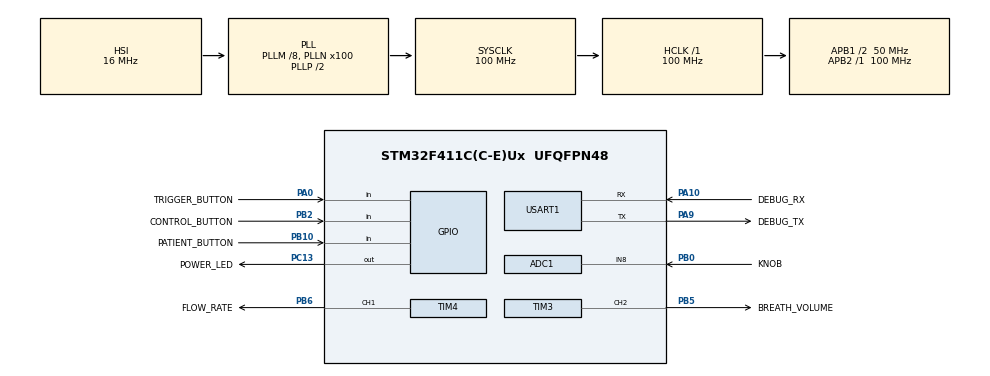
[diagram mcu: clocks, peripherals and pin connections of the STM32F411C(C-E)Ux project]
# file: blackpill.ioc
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ADC1.Channel-0\#ChannelRegularConversion=ADC_CHANNEL_8
ADC1.NbrOfConversionFlag=1
ADC1.Rank-0\#ChannelRegularConversion=1
ADC1.SamplingTime-0\#ChannelRegularConversion=ADC_SAMPLETIME_3CYCLES
ADC1.master=1
Dma.ADC1.0.Direction=DMA_PERIPH_TO_MEMORY
Dma.ADC1.0.FIFOMode=DMA_FIFOMODE_DISABLE
Dma.ADC1.0.Instance=DMA2_Stream0
Dma.ADC1.0.MemDataAlignment=DMA_MDATAALIGN_HALFWORD
Dma.ADC1.0.MemInc=DMA_MINC_ENABLE
Dma.ADC1.0.Mode=DMA_NORMAL
Dma.ADC1.0.PeriphDataAlignment=DMA_PDATAALIGN_HALFWORD
Dma.ADC1.0.PeriphInc=DMA_PINC_DISABLE
Dma.ADC1.0.Priority=DMA_PRIORITY_LOW
Dma.Request0=ADC1
FREERTOS.Tasks01=defaultTask,29,128,StartDefaultTask,Default,NULL,Dynamic,NULL,NULL;buttonTask,29,150,StartButtonTask,Default,NULL,Dynamic,NULL,NULL;patientTask,29,170,startPatientTask,Default,NULL,Dynamic,NULL,NULL
Mcu.Family=STM32F4
Mcu.Name=STM32F411C(C-E)Ux
Mcu.Package=UFQFPN48
NVIC.ADC_IRQn=true\:5\:0\:false\:false\:true\:true\:true\:true\:true
NVIC.DMA2_Stream0_IRQn=true\:5\:0\:false\:false\:true\:true\:false\:true\:true
NVIC.PriorityGroup=NVIC_PRIORITYGROUP_4
NVIC.TIM1_BRK_TIM9_IRQn=true\:15\:0\:false\:false\:true\:false\:false\:true\:true
NVIC.TIM3_IRQn=true\:5\:0\:false\:false\:true\:true\:true\:true\:true
NVIC.TIM4_IRQn=true\:5\:0\:false\:false\:true\:true\:true\:true\:true
NVIC.TimeBase=TIM1_BRK_TIM9_IRQn
NVIC.TimeBaseIP=TIM9
NVIC.USART1_IRQn=true\:5\:0\:false\:false\:true\:true\:true\:true\:true
PA0-WKUP.GPIO_Label=TRIGGER_BUTTON
PA0-WKUP.GPIO_PuPd=GPIO_PULLUP
PA0-WKUP.Signal=GPIO_Input
PA10.GPIO_Label=DEBUG_RX
PA10.Mode=Asynchronous
PA10.Signal=USART1_RX
PA11.Signal=USB_OTG_FS_DM
PA12.Signal=USB_OTG_FS_DP
PA13.Mode=Serial_Wire
PA13.Signal=SYS_JTMS-SWDIO
PA14.Mode=Serial_Wire
PA14.Signal=SYS_JTCK-SWCLK
PA4.Signal=SPI1_NSS
PA5.Signal=SPI1_SCK
PA7.Signal=SPI1_MOSI
PA9.GPIO_Label=DEBUG_TX
PA9.Mode=Asynchronous
PA9.Signal=USART1_TX
PB0.GPIO_Label=KNOB
PB0.Signal=ADCx_IN8
PB10.GPIO_Label=PATIENT_BUTTON
PB10.GPIO_PuPd=GPIO_PULLUP
PB10.Signal=GPIO_Input
PB2.GPIO_Label=CONTROL_BUTTON
PB2.GPIO_PuPd=GPIO_PULLUP
PB2.Signal=GPIO_Input
PB4.Signal=SPI1_MISO
PB5.GPIO_Label=BREATH_VOLUME
PB5.Signal=S_TIM3_CH2
PB6.GPIO_Label=FLOW_RATE
PB6.Signal=S_TIM4_CH1
PC13-ANTI_TAMP.GPIO_Label=POWER_LED
PC13-ANTI_TAMP.GPIO_ModeDefaultOutputPP=GPIO_MODE_OUTPUT_OD
PC13-ANTI_TAMP.GPIO_PuPd=GPIO_NOPULL
PC13-ANTI_TAMP.PinState=GPIO_PIN_SET
PC13-ANTI_TAMP.Signal=GPIO_Output
PC14-OSC32_IN.Mode=LSE-External-Oscillator
PC14-OSC32_IN.Signal=RCC_OSC32_IN
PC15-OSC32_OUT.Mode=LSE-External-Oscillator
PC15-OSC32_OUT.Signal=RCC_OSC32_OUT
PH0\ -\ OSC_IN.Mode=HSE-External-Oscillator
PH0\ -\ OSC_IN.Signal=RCC_OSC_IN
PH1\ -\ OSC_OUT.Mode=HSE-External-Oscillator
PH1\ -\ OSC_OUT.Signal=RCC_OSC_OUT
ProjectManager.HeapSize=0x200
ProjectManager.StackSize=0x400
ProjectManager.TargetToolchain=STM32CubeIDE
RCC.48MHZClocksFreq_Value=50000000
RCC.AHBFreq_Value=100000000
RCC.APB1CLKDivider=RCC_HCLK_DIV2
RCC.APB1Freq_Value=50000000
RCC.APB1TimFreq_Value=100000000
RCC.APB2Freq_Value=100000000
RCC.APB2TimFreq_Value=100000000
RCC.CortexFreq_Value=100000000
RCC.HCLKFreq_Value=100000000
RCC.HSE_VALUE=25000000
RCC.HSI_VALUE=16000000
RCC.PLLM=8
RCC.PLLN=100
RCC.SYSCLKFreq_VALUE=100000000
RCC.SYSCLKSource=RCC_SYSCLKSOURCE_PLLCLK
RCC.VCOOutputFreq_Value=200000000
SH.ADCx_IN8.0=ADC1_IN8,IN8
SH.S_TIM3_CH2.0=TIM3_CH2,PWM Generation2 CH2
SH.S_TIM4_CH1.0=TIM4_CH1,PWM Generation1 CH1
TIM1.AutoReloadPreload=TIM_AUTORELOAD_PRELOAD_ENABLE
TIM1.Prescaler=9999
TIM1.TIM_MasterOutputTrigger=TIM_TRGO_RESET
TIM3.Channel-PWM\ Generation2\ CH2=TIM_CHANNEL_2
TIM3.Period=999
TIM3.Prescaler=99
TIM3.Pulse-PWM\ Generation2\ CH2=0
TIM4.Channel-PWM\ Generation1\ CH1=TIM_CHANNEL_1
TIM4.Period=9999
TIM4.Prescaler=9999
USART1.VirtualMode=VM_ASYNC
VP_FREERTOS_VS_CMSIS_V2.Mode=CMSIS_V2
VP_SYS_VS_tim9.Mode=TIM9
VP_TIM1_VS_ClockSourceINT.Mode=Internal
VP_TIM3_VS_ClockSourceINT.Mode=Internal
VP_TIM4_VS_ClockSourceINT.Mode=Internal
board=custom

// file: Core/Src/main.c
/* USER CODE BEGIN Header */
/**
  ******************************************************************************
  * @file           : main.c
  * @brief          : Main program body
  ******************************************************************************
  * @attention
  *
  * Copyright (c) 2022 STMicroelectronics.
  * All rights reserved.
  *
  * This software is licensed under terms that can be found in the LICENSE file
  * in the root directory of this software component.
  * If no LICENSE file comes with this software, it is provided AS-IS.
  *
  ******************************************************************************
  */
/* USER CODE END Header */
#include "main.h"
#include "cmsis_os.h"

/* USER CODE BEGIN Includes */
#include "app.h"
#include "led.h"
#include "debug.h"
/* USER CODE END Includes */

ADC_HandleTypeDef hadc1;
DMA_HandleTypeDef hdma_adc1;

TIM_HandleTypeDef htim1;
TIM_HandleTypeDef htim3;
TIM_HandleTypeDef htim4;

UART_HandleTypeDef huart1;

/* Definitions for defaultTask */
osThreadId_t defaultTaskHandle;
const osThreadAttr_t defaultTask_attributes = {
  .name = "defaultTask",
  .stack_size = 128 * 4,
  .priority = (osPriority_t) osPriorityNormal5,
};
/* Definitions for buttonTask */
osThreadId_t buttonTaskHandle;
const osThreadAttr_t buttonTask_attributes = {
  .name = "buttonTask",
  .stack_size = 150 * 4,
  .priority = (osPriority_t) osPriorityNormal5,
};
/* Definitions for patientTask */
osThreadId_t patientTaskHandle;
const osThreadAttr_t patientTask_attributes = {
  .name = "patientTask",
  .stack_size = 170 * 4,
  .priority = (osPriority_t) osPriorityNormal5,
};
/* USER CODE BEGIN PV */
uint8_t data = 0;
/* USER CODE END PV */

void SystemClock_Config(void);
static void MX_GPIO_Init(void);
static void MX_DMA_Init(void);
static void MX_ADC1_Init(void);
static void MX_USART1_UART_Init(void);
static void MX_TIM1_Init(void);
static void MX_TIM3_Init(void);
static void MX_TIM4_Init(void);
void StartDefaultTask(void *argument);
void StartButtonTask(void *argument);
void startPatientTask(void *argument);

int main(void)
{

  /* MCU Configuration--------------------------------------------------------*/

  /* Reset of all peripherals, Initializes the Flash interface and the Systick. */
  HAL_Init();

  /* Configure the system clock */
  SystemClock_Config();

  /* Initialize all configured peripherals */
  MX_GPIO_Init();
  MX_DMA_Init();
  MX_ADC1_Init();
  MX_USART1_UART_Init();
  MX_TIM1_Init();
  MX_TIM3_Init();
  MX_TIM4_Init();
  /* USER CODE BEGIN 2 */
  HAL_UART_Receive_IT(&huart1, &data, 1);
  //HAL_TIM_PWM_Start_IT(&htim3, TIM_CHANNEL_2);
  //HAL_TIM_PWM_Start_IT(&htim4, TIM_CHANNEL_1);
  app_init();
  PRINT("Welcome to Blackpill Ventilator Console ***\r\n");
  /* USER CODE END 2 */

  /* Init scheduler */
  osKernelInitialize();

  /* Create the thread(s) */
  /* creation of defaultTask */
  defaultTaskHandle = osThreadNew(StartDefaultTask, NULL, &defaultTask_attributes);

  /* creation of buttonTask */
  buttonTaskHandle = osThreadNew(StartButtonTask, NULL, &buttonTask_attributes);

  /* creation of patientTask */
  patientTaskHandle = osThreadNew(startPatientTask, NULL, &patientTask_attributes);

  /* Start scheduler */
  osKernelStart();

  /* We should never get here as control is now taken by the scheduler */
  /* Infinite loop */
  while (1)
  {

  }
}

void SystemClock_Config(void)
{
  RCC_OscInitTypeDef RCC_OscInitStruct = {0};
  RCC_ClkInitTypeDef RCC_ClkInitStruct = {0};

  /** Configure the main internal regulator output voltage
  */
  __HAL_RCC_PWR_CLK_ENABLE();
  __HAL_PWR_VOLTAGESCALING_CONFIG(PWR_REGULATOR_VOLTAGE_SCALE1);

  /** Initializes the RCC Oscillators according to the specified parameters
  * in the RCC_OscInitTypeDef structure.
  */
  RCC_OscInitStruct.OscillatorType = RCC_OSCILLATORTYPE_HSI;
  RCC_OscInitStruct.HSIState = RCC_HSI_ON;
  RCC_OscInitStruct.HSICalibrationValue = RCC_HSICALIBRATION_DEFAULT;
  RCC_OscInitStruct.PLL.PLLState = RCC_PLL_ON;
  RCC_OscInitStruct.PLL.PLLSource = RCC_PLLSOURCE_HSI;
  RCC_OscInitStruct.PLL.PLLM = 8;
  RCC_OscInitStruct.PLL.PLLN = 100;
  RCC_OscInitStruct.PLL.PLLP = RCC_PLLP_DIV2;
  RCC_OscInitStruct.PLL.PLLQ = 4;
  if (HAL_RCC_OscConfig(&RCC_OscInitStruct) != HAL_OK)
  {
    Error_Handler();
  }

  /** Initializes the CPU, AHB and APB buses clocks
  */
  RCC_ClkInitStruct.ClockType = RCC_CLOCKTYPE_HCLK|RCC_CLOCKTYPE_SYSCLK
                              |RCC_CLOCKTYPE_PCLK1|RCC_CLOCKTYPE_PCLK2;
  RCC_ClkInitStruct.SYSCLKSource = RCC_SYSCLKSOURCE_PLLCLK;
  RCC_ClkInitStruct.AHBCLKDivider = RCC_SYSCLK_DIV1;
  RCC_ClkInitStruct.APB1CLKDivider = RCC_HCLK_DIV2;
  RCC_ClkInitStruct.APB2CLKDivider = RCC_HCLK_DIV1;

  if (HAL_RCC_ClockConfig(&RCC_ClkInitStruct, FLASH_LATENCY_3) != HAL_OK)
  {
    Error_Handler();
  }
}

static void MX_ADC1_Init(void)
{

  ADC_ChannelConfTypeDef sConfig = {0};

  /** Configure the global features of the ADC (Clock, Resolution, Data Alignment and number of conversion)
  */
  hadc1.Instance = ADC1;
  hadc1.Init.ClockPrescaler = ADC_CLOCK_SYNC_PCLK_DIV4;
  hadc1.Init.Resolution = ADC_RESOLUTION_12B;
  hadc1.Init.ScanConvMode = DISABLE;
  hadc1.Init.ContinuousConvMode = DISABLE;
  hadc1.Init.DiscontinuousConvMode = DISABLE;
  hadc1.Init.ExternalTrigConvEdge = ADC_EXTERNALTRIGCONVEDGE_NONE;
  hadc1.Init.ExternalTrigConv = ADC_SOFTWARE_START;
  hadc1.Init.DataAlign = ADC_DATAALIGN_RIGHT;
  hadc1.Init.NbrOfConversion = 1;
  hadc1.Init.DMAContinuousRequests = DISABLE;
  hadc1.Init.EOCSelection = ADC_EOC_SINGLE_CONV;
  if (HAL_ADC_Init(&hadc1) != HAL_OK)
  {
    Error_Handler();
  }

  /** Configure for the selected ADC regular channel its corresponding rank in the sequencer and its sample time.
  */
  sConfig.Channel = ADC_CHANNEL_8;
  sConfig.Rank = 1;
  sConfig.SamplingTime = ADC_SAMPLETIME_3CYCLES;
  if (HAL_ADC_ConfigChannel(&hadc1, &sConfig) != HAL_OK)
  {
    Error_Handler();
  }

}

static void MX_TIM1_Init(void)
{

  TIM_ClockConfigTypeDef sClockSourceConfig = {0};
  TIM_MasterConfigTypeDef sMasterConfig = {0};

  htim1.Instance = TIM1;
  htim1.Init.Prescaler = 9999;
  htim1.Init.CounterMode = TIM_COUNTERMODE_UP;
  htim1.Init.Period = 65535;
  htim1.Init.ClockDivision = TIM_CLOCKDIVISION_DIV1;
  htim1.Init.RepetitionCounter = 0;
  htim1.Init.AutoReloadPreload = TIM_AUTORELOAD_PRELOAD_ENABLE;
  if (HAL_TIM_Base_Init(&htim1) != HAL_OK)
  {
    Error_Handler();
  }
  sClockSourceConfig.ClockSource = TIM_CLOCKSOURCE_INTERNAL;
  if (HAL_TIM_ConfigClockSource(&htim1, &sClockSourceConfig) != HAL_OK)
  {
    Error_Handler();
  }
  sMasterConfig.MasterOutputTrigger = TIM_TRGO_RESET;
  sMasterConfig.MasterSlaveMode = TIM_MASTERSLAVEMODE_DISABLE;
  if (HAL_TIMEx_MasterConfigSynchronization(&htim1, &sMasterConfig) != HAL_OK)
  {
    Error_Handler();
  }

}

static void MX_TIM3_Init(void)
{

  TIM_ClockConfigTypeDef sClockSourceConfig = {0};
  TIM_MasterConfigTypeDef sMasterConfig = {0};
  TIM_OC_InitTypeDef sConfigOC = {0};

  htim3.Instance = TIM3;
  htim3.Init.Prescaler = 99;
  htim3.Init.CounterMode = TIM_COUNTERMODE_UP;
  htim3.Init.Period = 999;
  htim3.Init.ClockDivision = TIM_CLOCKDIVISION_DIV1;
  htim3.Init.AutoReloadPreload = TIM_AUTORELOAD_PRELOAD_DISABLE;
  if (HAL_TIM_Base_Init(&htim3) != HAL_OK)
  {
    Error_Handler();
  }
  sClockSourceConfig.ClockSource = TIM_CLOCKSOURCE_INTERNAL;
  if (HAL_TIM_ConfigClockSource(&htim3, &sClockSourceConfig) != HAL_OK)
  {
    Error_Handler();
  }
  if (HAL_TIM_PWM_Init(&htim3) != HAL_OK)
  {
    Error_Handler();
  }
  sMasterConfig.MasterOutputTrigger = TIM_TRGO_RESET;
  sMasterConfig.MasterSlaveMode = TIM_MASTERSLAVEMODE_DISABLE;
  if (HAL_TIMEx_MasterConfigSynchronization(&htim3, &sMasterConfig) != HAL_OK)
  {
    Error_Handler();
  }
  sConfigOC.OCMode = TIM_OCMODE_PWM1;
  sConfigOC.Pulse = 0;
  sConfigOC.OCPolarity = TIM_OCPOLARITY_HIGH;
  sConfigOC.OCFastMode = TIM_OCFAST_DISABLE;
  if (HAL_TIM_PWM_ConfigChannel(&htim3, &sConfigOC, TIM_CHANNEL_2) != HAL_OK)
  {
    Error_Handler();
  }
  HAL_TIM_MspPostInit(&htim3);

}

static void MX_TIM4_Init(void)
{

  TIM_ClockConfigTypeDef sClockSourceConfig = {0};
  TIM_MasterConfigTypeDef sMasterConfig = {0};
  TIM_OC_InitTypeDef sConfigOC = {0};

  htim4.Instance = TIM4;
  htim4.Init.Prescaler = 9999;
  htim4.Init.CounterMode = TIM_COUNTERMODE_UP;
  htim4.Init.Period = 9999;
  htim4.Init.ClockDivision = TIM_CLOCKDIVISION_DIV1;
  htim4.Init.AutoReloadPreload = TIM_AUTORELOAD_PRELOAD_DISABLE;
  if (HAL_TIM_Base_Init(&htim4) != HAL_OK)
  {
    Error_Handler();
  }
  sClockSourceConfig.ClockSource = TIM_CLOCKSOURCE_INTERNAL;
  if (HAL_TIM_ConfigClockSource(&htim4, &sClockSourceConfig) != HAL_OK)
  {
    Error_Handler();
  }
  if (HAL_TIM_PWM_Init(&htim4) != HAL_OK)
  {
    Error_Handler();
  }
  sMasterConfig.MasterOutputTrigger = TIM_TRGO_RESET;
  sMasterConfig.MasterSlaveMode = TIM_MASTERSLAVEMODE_DISABLE;
  if (HAL_TIMEx_MasterConfigSynchronization(&htim4, &sMasterConfig) != HAL_OK)
  {
    Error_Handler();
  }
  sConfigOC.OCMode = TIM_OCMODE_PWM1;
  sConfigOC.Pulse = 0;
  sConfigOC.OCPolarity = TIM_OCPOLARITY_HIGH;
  sConfigOC.OCFastMode = TIM_OCFAST_DISABLE;
  if (HAL_TIM_PWM_ConfigChannel(&htim4, &sConfigOC, TIM_CHANNEL_1) != HAL_OK)
  {
    Error_Handler();
  }
  HAL_TIM_MspPostInit(&htim4);

}

static void MX_USART1_UART_Init(void)
{

  huart1.Instance = USART1;
  huart1.Init.BaudRate = 115200;
  huart1.Init.WordLength = UART_WORDLENGTH_8B;
  huart1.Init.StopBits = UART_STOPBITS_1;
  huart1.Init.Parity = UART_PARITY_NONE;
  huart1.Init.Mode = UART_MODE_TX_RX;
  huart1.Init.HwFlowCtl = UART_HWCONTROL_NONE;
  huart1.Init.OverSampling = UART_OVERSAMPLING_16;
  if (HAL_UART_Init(&huart1) != HAL_OK)
  {
    Error_Handler();
  }

}

static void MX_DMA_Init(void)
{

  /* DMA controller clock enable */
  __HAL_RCC_DMA2_CLK_ENABLE();

  /* DMA interrupt init */
  /* DMA2_Stream0_IRQn interrupt configuration */
  HAL_NVIC_SetPriority(DMA2_Stream0_IRQn, 5, 0);
  HAL_NVIC_EnableIRQ(DMA2_Stream0_IRQn);

}

static void MX_GPIO_Init(void)
{
  GPIO_InitTypeDef GPIO_InitStruct = {0};

  /* GPIO Ports Clock Enable */
  __HAL_RCC_GPIOC_CLK_ENABLE();
  __HAL_RCC_GPIOH_CLK_ENABLE();
  __HAL_RCC_GPIOA_CLK_ENABLE();
  __HAL_RCC_GPIOB_CLK_ENABLE();

  /*Configure GPIO pin Output Level */
  HAL_GPIO_WritePin(POWER_LED_GPIO_Port, POWER_LED_Pin, GPIO_PIN_SET);

  /*Configure GPIO pin : POWER_LED_Pin */
  GPIO_InitStruct.Pin = POWER_LED_Pin;
  GPIO_InitStruct.Mode = GPIO_MODE_OUTPUT_OD;
  GPIO_InitStruct.Pull = GPIO_NOPULL;
  GPIO_InitStruct.Speed = GPIO_SPEED_FREQ_LOW;
  HAL_GPIO_Init(POWER_LED_GPIO_Port, &GPIO_InitStruct);

  /*Configure GPIO pin : TRIGGER_BUTTON_Pin */
  GPIO_InitStruct.Pin = TRIGGER_BUTTON_Pin;
  GPIO_InitStruct.Mode = GPIO_MODE_INPUT;
  GPIO_InitStruct.Pull = GPIO_PULLUP;
  HAL_GPIO_Init(TRIGGER_BUTTON_GPIO_Port, &GPIO_InitStruct);

  /*Configure GPIO pins : PA4 PA5 PA7 */
  GPIO_InitStruct.Pin = GPIO_PIN_4|GPIO_PIN_5|GPIO_PIN_7;
  GPIO_InitStruct.Mode = GPIO_MODE_AF_PP;
  GPIO_InitStruct.Pull = GPIO_NOPULL;
  GPIO_InitStruct.Speed = GPIO_SPEED_FREQ_VERY_HIGH;
  GPIO_InitStruct.Alternate = GPIO_AF5_SPI1;
  HAL_GPIO_Init(GPIOA, &GPIO_InitStruct);

  /*Configure GPIO pins : CONTROL_BUTTON_Pin PATIENT_BUTTON_Pin */
  GPIO_InitStruct.Pin = CONTROL_BUTTON_Pin|PATIENT_BUTTON_Pin;
  GPIO_InitStruct.Mode = GPIO_MODE_INPUT;
  GPIO_InitStruct.Pull = GPIO_PULLUP;
  HAL_GPIO_Init(GPIOB, &GPIO_InitStruct);

  /*Configure GPIO pins : PA11 PA12 */
  GPIO_InitStruct.Pin = GPIO_PIN_11|GPIO_PIN_12;
  GPIO_InitStruct.Mode = GPIO_MODE_AF_PP;
  GPIO_InitStruct.Pull = GPIO_NOPULL;
  GPIO_InitStruct.Speed = GPIO_SPEED_FREQ_VERY_HIGH;
  GPIO_InitStruct.Alternate = GPIO_AF10_OTG_FS;
  HAL_GPIO_Init(GPIOA, &GPIO_InitStruct);

  /*Configure GPIO pin : PB4 */
  GPIO_InitStruct.Pin = GPIO_PIN_4;
  GPIO_InitStruct.Mode = GPIO_MODE_AF_PP;
  GPIO_InitStruct.Pull = GPIO_NOPULL;
  GPIO_InitStruct.Speed = GPIO_SPEED_FREQ_VERY_HIGH;
  GPIO_InitStruct.Alternate = GPIO_AF5_SPI1;
  HAL_GPIO_Init(GPIOB, &GPIO_InitStruct);

}

/* USER CODE BEGIN 4 */
void HAL_UART_RxCpltCallback(UART_HandleTypeDef *huart)
{
	debug_rx_handler(data);
	HAL_UART_Receive_IT(&huart1, &data, 1);

}

void HAL_TIM_PWM_PulseFinishedCallback(TIM_HandleTypeDef *htim)
{
	// TIM_OC_InitTypeDef sConfigOC = {0};
	static int dutyCycle = 10;
	static int ramp = 0;
	static int changePeriod = 1000; // 1sec

    if(htim -> Instance == TIM3)
    {
        if(htim->Channel == HAL_TIM_ACTIVE_CHANNEL_2)
        {
        	if(changePeriod--){
        		return;
        	}

        	if(ramp == 0)
			  {
				  TIM3->CCR2 = dutyCycle -1;
				  dutyCycle = dutyCycle + 10;
				  if(dutyCycle >= 500)
				  {
					  ramp = 1;
				  }
			  } else
			  {
				  TIM3->CCR2 = dutyCycle - 1;
				  dutyCycle = dutyCycle - 10;
				  if(dutyCycle <= 10)
				  {
					  ramp = 0;
				  }
			  }
        	changePeriod = 1000; // reset change period
        }
    }
}

/* USER CODE END 4 */

void StartDefaultTask(void *argument)
{
  /* USER CODE BEGIN 5 */
  PRINT("Debug Task Started\r\n");

  /* Infinite loop */
  for(;;)
  {
    osDelay(4);
    app_debug_task();
  }
  /* USER CODE END 5 */
}

void StartButtonTask(void *argument)
{
  /* USER CODE BEGIN StartButtonTask */
  PRINT("Button Task Started\r\n");

  /* Infinite loop */
  for(;;)
  {
    osDelay(1);
    app_button_task();
  }
  /* USER CODE END StartButtonTask */
}

void startPatientTask(void *argument)
{
  /* USER CODE BEGIN startPatientTask */
  PRINT("Patient Button Task Started\r\n");
  /* Infinite loop */
  for(;;)
  {
    osDelay(1);
    app_patient_task();
  }
  /* USER CODE END startPatientTask */
}

void HAL_TIM_PeriodElapsedCallback(TIM_HandleTypeDef *htim)
{
  if (htim->Instance == TIM9) {
    HAL_IncTick();
  }
}

void Error_Handler(void)
{
  __disable_irq();
  while (1)
  {
  }
}
